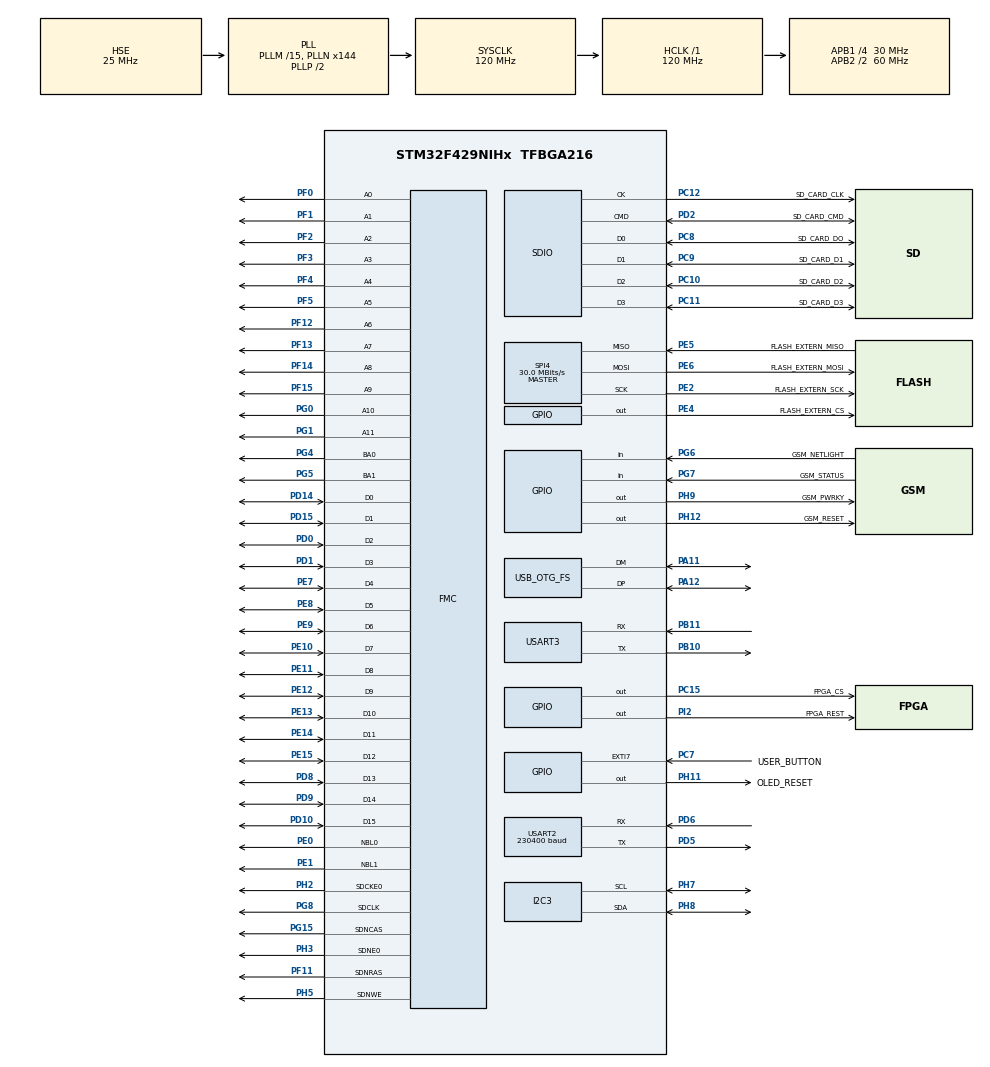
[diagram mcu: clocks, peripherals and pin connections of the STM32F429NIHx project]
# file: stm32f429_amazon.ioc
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FMC.CASLatency1=FMC_SDRAM_CAS_LATENCY_2
FMC.ReadBurst1=FMC_SDRAM_RBURST_ENABLE
FMC.ReadBurst2=FMC_SDRAM_RBURST_ENABLE
FMC.ReadPipeDelay1=FMC_SDRAM_RPIPE_DELAY_0
FMC.SDClockPeriod1=FMC_SDRAM_CLOCK_PERIOD_2
FMC.SDClockPeriod2=FMC_SDRAM_CLOCK_PERIOD_2
FREERTOS.Tasks01=defaultTask,24,128,StartDefaultTask,Default,NULL,Dynamic,NULL,NULL
Mcu.Family=STM32F4
Mcu.Name=STM32F429NIHx
Mcu.Package=TFBGA216
NVIC.OTG_FS_IRQn=true\:5\:0\:false\:false\:true\:true\:true\:true
NVIC.PriorityGroup=NVIC_PRIORITYGROUP_4
NVIC.TIM1_UP_TIM10_IRQn=true\:0\:0\:false\:false\:true\:false\:false\:true
NVIC.TimeBase=TIM1_UP_TIM10_IRQn
NVIC.TimeBaseIP=TIM1
NVIC.USART2_IRQn=true\:5\:0\:false\:false\:true\:true\:true\:true
NVIC.USART3_IRQn=true\:5\:0\:false\:false\:true\:true\:true\:true
PA11.Mode=Device_Only
PA11.Signal=USB_OTG_FS_DM
PA12.Mode=Device_Only
PA12.Signal=USB_OTG_FS_DP
PB10.GPIO_Mode=GPIO_MODE_AF_PP
PB10.GPIO_PuPd=GPIO_PULLUP
PB10.GPIO_Speed=GPIO_SPEED_FREQ_VERY_HIGH
PB10.Mode=Asynchronous
PB10.Signal=USART3_TX
PB11.GPIO_Mode=GPIO_MODE_AF_PP
PB11.GPIO_PuPd=GPIO_PULLUP
PB11.GPIO_Speed=GPIO_SPEED_FREQ_VERY_HIGH
PB11.Mode=Asynchronous
PB11.Signal=USART3_RX
PC10.GPIO_Label=SD_CARD_D2
PC10.Mode=SD_4_bits_Wide_bus
PC10.Signal=SDIO_D2
PC11.GPIO_Label=SD_CARD_D3
PC11.Mode=SD_4_bits_Wide_bus
PC11.Signal=SDIO_D3
PC12.GPIO_Label=SD_CARD_CLK
PC12.Mode=SD_4_bits_Wide_bus
PC12.Signal=SDIO_CK
PC15/OSC32_OUT.GPIO_Label=FPGA_CS
PC15/OSC32_OUT.Signal=GPIO_Output
PC7.GPIO_Label=USER_BUTTON
PC7.GPIO_ModeDefaultEXTI=GPIO_MODE_IT_RISING_FALLING
PC7.Signal=GPXTI7
PC8.GPIO_Label=SD_CARD_DO
PC8.Mode=SD_4_bits_Wide_bus
PC8.Signal=SDIO_D0
PC9.GPIO_Label=SD_CARD_D1
PC9.Mode=SD_4_bits_Wide_bus
PC9.Signal=SDIO_D1
PD0.Signal=FMC_D2_DA2
PD1.Signal=FMC_D3_DA3
PD10.Signal=FMC_D15_DA15
PD14.Signal=FMC_D0_DA0
PD15.Signal=FMC_D1_DA1
PD2.GPIO_Label=SD_CARD_CMD
PD2.Mode=SD_4_bits_Wide_bus
PD2.Signal=SDIO_CMD
PD5.GPIO_Mode=GPIO_MODE_AF_PP
PD5.GPIO_PuPd=GPIO_PULLUP
PD5.GPIO_Speed=GPIO_SPEED_FREQ_VERY_HIGH
PD5.Mode=Asynchronous
PD5.Signal=USART2_TX
PD6.GPIO_Mode=GPIO_MODE_AF_PP
PD6.GPIO_PuPd=GPIO_PULLUP
PD6.GPIO_Speed=GPIO_SPEED_FREQ_VERY_HIGH
PD6.Mode=Asynchronous
PD6.Signal=USART2_RX
PD8.Signal=FMC_D13_DA13
PD9.Signal=FMC_D14_DA14
PE0.Signal=FMC_NBL0
PE1.Signal=FMC_NBL1
PE10.Signal=FMC_D7_DA7
PE11.Signal=FMC_D8_DA8
PE12.Signal=FMC_D9_DA9
PE13.Signal=FMC_D10_DA10
PE14.Signal=FMC_D11_DA11
PE15.Signal=FMC_D12_DA12
PE2.GPIO_Label=FLASH_EXTERN_SCK
PE2.Mode=Full_Duplex_Master
PE2.Signal=SPI4_SCK
PE4.GPIO_Label=FLASH_EXTERN_CS
PE4.GPIO_PuPd=GPIO_PULLDOWN
PE4.Signal=GPIO_Output
PE5.GPIO_Label=FLASH_EXTERN_MISO
PE5.Mode=Full_Duplex_Master
PE5.Signal=SPI4_MISO
PE6.GPIO_Label=FLASH_EXTERN_MOSI
PE6.Mode=Full_Duplex_Master
PE6.Signal=SPI4_MOSI
PE7.Signal=FMC_D4_DA4
PE8.Signal=FMC_D5_DA5
PE9.Signal=FMC_D6_DA6
PF0.Signal=FMC_A0
PF1.Signal=FMC_A1
PF11.Signal=FMC_SDNRAS
PF12.Signal=FMC_A6
PF13.Signal=FMC_A7
PF14.Signal=FMC_A8
PF15.Signal=FMC_A9
PF2.Signal=FMC_A2
PF3.Signal=FMC_A3
PF4.Signal=FMC_A4
PF5.Signal=FMC_A5
PG0.Signal=FMC_A10
PG1.Signal=FMC_A11
PG15.Signal=FMC_SDNCAS
PG4.Signal=FMC_A14_BA0
PG5.Signal=FMC_A15_BA1
PG6.GPIO_Label=GSM_NETLIGHT
PG6.GPIO_Mode=GPIO_MODE_INPUT
PG6.GPIO_PuPd=GPIO_NOPULL
PG6.Signal=GPIO_Input
PG7.GPIO_Label=GSM_STATUS
PG7.GPIO_Mode=GPIO_MODE_INPUT
PG7.GPIO_PuPd=GPIO_NOPULL
PG7.Signal=GPIO_Input
PG8.Signal=FMC_SDCLK
PH0/OSC_IN.Mode=HSE-External-Oscillator
PH0/OSC_IN.Signal=RCC_OSC_IN
PH1/OSC_OUT.Mode=HSE-External-Oscillator
PH1/OSC_OUT.Signal=RCC_OSC_OUT
PH11.GPIO_Label=OLED_RESET
PH11.GPIO_PuPd=GPIO_PULLDOWN
PH11.Signal=GPIO_Output
PH12.GPIO_Label=GSM_RESET
PH12.GPIO_ModeDefaultOutputPP=GPIO_MODE_OUTPUT_PP
PH12.GPIO_PuPd=GPIO_NOPULL
PH12.GPIO_Speed=GPIO_SPEED_FREQ_LOW
PH12.PinState=GPIO_PIN_RESET
PH12.Signal=GPIO_Output
PH2.Mode=SdramChipSelect1_1
PH2.Signal=FMC_SDCKE0
PH3.Mode=SdramChipSelect1_1
PH3.Signal=FMC_SDNE0
PH5.Signal=FMC_SDNWE
PH7.Mode=I2C
PH7.Signal=I2C3_SCL
PH8.Mode=I2C
PH8.Signal=I2C3_SDA
PH9.GPIO_Label=GSM_PWRKY
PH9.GPIO_ModeDefaultOutputPP=GPIO_MODE_OUTPUT_PP
PH9.GPIO_PuPd=GPIO_NOPULL
PH9.GPIO_Speed=GPIO_SPEED_FREQ_LOW
PH9.PinState=GPIO_PIN_RESET
PH9.Signal=GPIO_Output
PI2.GPIO_Label=FPGA_REST
PI2.GPIO_PuPd=GPIO_PULLDOWN
PI2.GPIO_Speed=GPIO_SPEED_FREQ_LOW
PI2.Signal=GPIO_Output
ProjectManager.HeapSize=0x200
ProjectManager.StackSize=0x400
ProjectManager.TargetToolchain=STM32CubeIDE
RCC.48MHZClocksFreq_Value=48000000
RCC.AHBFreq_Value=120000000
RCC.APB1CLKDivider=RCC_HCLK_DIV4
RCC.APB1Freq_Value=30000000
RCC.APB1TimFreq_Value=60000000
RCC.APB2CLKDivider=RCC_HCLK_DIV2
RCC.APB2Freq_Value=60000000
RCC.APB2TimFreq_Value=120000000
RCC.CortexFreq_Value=120000000
RCC.EnbaleCSS=true
RCC.HCLKFreq_Value=120000000
RCC.HSE_VALUE=25000000
RCC.HSI_VALUE=16000000
RCC.LSE_VALUE=32768
RCC.PLLM=15
RCC.PLLN=144
RCC.PLLQ=5
RCC.SYSCLKFreq_VALUE=120000000
RCC.SYSCLKSource=RCC_SYSCLKSOURCE_PLLCLK
RCC.VCOOutputFreq_Value=240000000
SH.FMC_A0.0=FMC_A0,12b-sda1
SH.FMC_A1.0=FMC_A1,12b-sda1
SH.FMC_A10.0=FMC_A10,12b-sda1
SH.FMC_A11.0=FMC_A11,12b-sda1
SH.FMC_A14_BA0.0=FMC_BA0,FourSdramBanks1
SH.FMC_A15_BA1.0=FMC_BA1,FourSdramBanks1
SH.FMC_A2.0=FMC_A2,12b-sda1
SH.FMC_A3.0=FMC_A3,12b-sda1
SH.FMC_A4.0=FMC_A4,12b-sda1
SH.FMC_A5.0=FMC_A5,12b-sda1
SH.FMC_A6.0=FMC_A6,12b-sda1
SH.FMC_A7.0=FMC_A7,12b-sda1
SH.FMC_A8.0=FMC_A8,12b-sda1
SH.FMC_A9.0=FMC_A9,12b-sda1
SH.FMC_D0_DA0.0=FMC_D0,sd-16b-d1
SH.FMC_D10_DA10.0=FMC_D10,sd-16b-d1
SH.FMC_D11_DA11.0=FMC_D11,sd-16b-d1
SH.FMC_D12_DA12.0=FMC_D12,sd-16b-d1
SH.FMC_D13_DA13.0=FMC_D13,sd-16b-d1
SH.FMC_D14_DA14.0=FMC_D14,sd-16b-d1
SH.FMC_D15_DA15.0=FMC_D15,sd-16b-d1
SH.FMC_D1_DA1.0=FMC_D1,sd-16b-d1
SH.FMC_D2_DA2.0=FMC_D2,sd-16b-d1
SH.FMC_D3_DA3.0=FMC_D3,sd-16b-d1
SH.FMC_D4_DA4.0=FMC_D4,sd-16b-d1
SH.FMC_D5_DA5.0=FMC_D5,sd-16b-d1
SH.FMC_D6_DA6.0=FMC_D6,sd-16b-d1
SH.FMC_D7_DA7.0=FMC_D7,sd-16b-d1
SH.FMC_D8_DA8.0=FMC_D8,sd-16b-d1
SH.FMC_D9_DA9.0=FMC_D9,sd-16b-d1
SH.FMC_NBL0.0=FMC_NBL0,Sd2ByteEnable1
SH.FMC_NBL1.0=FMC_NBL1,Sd2ByteEnable1
SH.FMC_SDCLK.0=FMC_SDCLK,12b-sda1
SH.FMC_SDNCAS.0=FMC_SDNCAS,12b-sda1
SH.FMC_SDNRAS.0=FMC_SDNRAS,12b-sda1
SH.FMC_SDNWE.0=FMC_SDNWE,12b-sda1
SPI4.CalculateBaudRate=30.0 MBits/s
SPI4.Direction=SPI_DIRECTION_2LINES
SPI4.Mode=SPI_MODE_MASTER
SPI4.VirtualType=VM_MASTER
USART2.BaudRate=230400
USART2.Mode=MODE_TX_RX
USART2.VirtualMode=VM_ASYNC
USART3.VirtualMode=VM_ASYNC
USB_DEVICE.CLASS_NAME_FS=CDC
USB_DEVICE.VirtualMode-CDC_FS=Cdc
USB_DEVICE.VirtualModeFS=Cdc_FS
USB_OTG_FS.VirtualMode=Device_Only
VP_CRC_VS_CRC.Mode=CRC_Activate
VP_FATFS_VS_SDIO.Mode=SDIO
VP_FREERTOS_VS_CMSIS_V1.Mode=CMSIS_V1
VP_RNG_VS_RNG.Mode=RNG_Activate
VP_RTC_VS_RTC_Activate.Mode=RTC_Enabled
VP_SYS_VS_tim1.Mode=TIM1
VP_USB_DEVICE_VS_USB_DEVICE_CDC_FS.Mode=CDC_FS
board=custom

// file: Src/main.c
/* USER CODE BEGIN Header */
/**
 ******************************************************************************
 * @file           : main.c
 * @brief          : Main program body
 ******************************************************************************
 * @attention
 *
 * <h2><center>&copy; Copyright (c) 2019 STMicroelectronics.
 * All rights reserved.</center></h2>
 *
 * This software component is licensed by ST under BSD 3-Clause license,
 * the "License"; You may not use this file except in compliance with the
 * License. You may obtain a copy of the License at:
 *                        opensource.org/licenses/BSD-3-Clause
 *
 ******************************************************************************
 */
/* USER CODE END Header */

#include "main.h"
#include "cmsis_os.h"
#include "fatfs.h"
#include "usb_device.h"

/* USER CODE BEGIN Includes */
#include <stdio.h>
#include "fpga_commander.h"
#include "debug_print.h"
#include "gsm.h"
#include "FreeRTOS.h"
#include "task.h"
#include "stats.h"
#include "gsmPPP.h"
#include "../Common/AWS/Inc/net.h"
#include "cloud.h"
#include "commander/commander.h"
#include "settings/settings.h"
#include "ssd1306_oled/ssd1306.h"
#include "status/display_status.h"
#include "sdram/sdram.h"

/* USER CODE END Includes */

CRC_HandleTypeDef hcrc;

I2C_HandleTypeDef hi2c3;

RNG_HandleTypeDef hrng;

RTC_HandleTypeDef hrtc;

SD_HandleTypeDef hsd;

SPI_HandleTypeDef hspi4;

UART_HandleTypeDef huart2;
UART_HandleTypeDef huart3;

SDRAM_HandleTypeDef hsdram1;

osThreadId defaultTaskHandle;
/* USER CODE BEGIN PV */
extern ePppState pppState;
net_hnd_t hnet;
static volatile uint8_t button_flags = 0;
/* USER CODE END PV */

void SystemClock_Config(void);
static void MX_GPIO_Init(void);
static void MX_USART2_UART_Init(void);
static void MX_CRC_Init(void);
static void MX_USART3_UART_Init(void);
static void MX_RTC_Init(void);
static void MX_RNG_Init(void);
static void MX_FMC_Init(void);
static void MX_I2C3_Init(void);
static void MX_SPI4_Init(void);
static void MX_SDIO_SD_Init(void);
void StartDefaultTask(void const * argument);

/* USER CODE BEGIN PFP */
void vApplicationStackOverflowHook( TaskHandle_t xTask,
		signed char *pcTaskName ) {
	DBGInfo("STACK OVERFLOW in task %s!!!!!!", pcTaskName);
}

void vApplicationMallocFailedHook(void) {
	DBGInfo("STACK vApplicationMallocFailedHook !!!!!!");
}

void vApplicationDaemonTaskStartupHook( void ) {
	DBGInfo("ApplicationDaemonTaskStartUpHook")
}

/* configUSE_STATIC_ALLOCATION is set to 1, so the application must provide an
 * implementation of vApplicationGetTimerTaskMemory() to provide the memory that is
 * used by the RTOS daemon/time task. */
void vApplicationGetTimerTaskMemory( StaticTask_t ** ppxTimerTaskTCBBuffer,
		StackType_t ** ppxTimerTaskStackBuffer,
		uint32_t * pulTimerTaskStackSize ) {
	/* If the buffers to be provided to the Timer task are declared inside this
	 * function then they must be declared static - otherwise they will be allocated on
	 * the stack and so not exists after this function exits. */
	static StaticTask_t xTimerTaskTCB;
	static StackType_t uxTimerTaskStack[ configTIMER_TASK_STACK_DEPTH ];

	/* Pass out a pointer to the StaticTask_t structure in which the Idle
	 * task's state will be stored. */
	*ppxTimerTaskTCBBuffer = &xTimerTaskTCB;

	/* Pass out the array that will be used as the Timer task's stack. */
	*ppxTimerTaskStackBuffer = uxTimerTaskStack;

	/* Pass out the size of the array pointed to by *ppxTimerTaskStackBuffer.
	 * Note that, as the array is necessarily of type StackType_t,
	 * configMINIMAL_STACK_SIZE is specified in words, not bytes. */
	*pulTimerTaskStackSize = configTIMER_TASK_STACK_DEPTH;
}

/* USER CODE END PFP */

int main(void)
{

  /* MCU Configuration--------------------------------------------------------*/

  /* Reset of all peripherals, Initializes the Flash interface and the Systick. */
  HAL_Init();

  /* Configure the system clock */
  SystemClock_Config();

  /* Initialize all configured peripherals */
  MX_GPIO_Init();
  MX_USART2_UART_Init();
  MX_CRC_Init();
  MX_USART3_UART_Init();
  MX_RTC_Init();
  MX_RNG_Init();
  MX_FMC_Init();
  MX_I2C3_Init();
  MX_SPI4_Init();
  MX_SDIO_SD_Init();
  /* USER CODE BEGIN 2 */

	ITM_Init(1000);
	DBGLog("Started");

	settingsInit();
	ssd1306_Init();
	setDisplayStatus((char*)caption_display_init_system);

	sdramInit();

	/* Create the thread(s) */
	/* definition and creation of defaultTask */
	xTaskCreate(StartDefaultTask, "defaultTask", 128, 0, tskIDLE_PRIORITY, NULL);

	gsmTaskInit();

	commanderInit();

	/* USER CODE END RTOS_THREADS */

	/* Start scheduler */
	vTaskStartScheduler();

	/* We should never get here as control is now taken by the scheduler */

  /* USER CODE END 2 */

	/* We should never get here as control is now taken by the scheduler */

	/* Infinite loop */
	while (1)
	{

	}
}

void SystemClock_Config(void)
{
  RCC_OscInitTypeDef RCC_OscInitStruct = {0};
  RCC_ClkInitTypeDef RCC_ClkInitStruct = {0};
  RCC_PeriphCLKInitTypeDef PeriphClkInitStruct = {0};

  /** Configure the main internal regulator output voltage
  */
  __HAL_RCC_PWR_CLK_ENABLE();
  __HAL_PWR_VOLTAGESCALING_CONFIG(PWR_REGULATOR_VOLTAGE_SCALE3);
  /** Initializes the CPU, AHB and APB busses clocks
  */
  RCC_OscInitStruct.OscillatorType = RCC_OSCILLATORTYPE_LSI|RCC_OSCILLATORTYPE_HSE;
  RCC_OscInitStruct.HSEState = RCC_HSE_ON;
  RCC_OscInitStruct.LSIState = RCC_LSI_ON;
  RCC_OscInitStruct.PLL.PLLState = RCC_PLL_ON;
  RCC_OscInitStruct.PLL.PLLSource = RCC_PLLSOURCE_HSE;
  RCC_OscInitStruct.PLL.PLLM = 15;
  RCC_OscInitStruct.PLL.PLLN = 144;
  RCC_OscInitStruct.PLL.PLLP = RCC_PLLP_DIV2;
  RCC_OscInitStruct.PLL.PLLQ = 5;
  if (HAL_RCC_OscConfig(&RCC_OscInitStruct) != HAL_OK)
  {
    Error_Handler();
  }
  /** Initializes the CPU, AHB and APB busses clocks
  */
  RCC_ClkInitStruct.ClockType = RCC_CLOCKTYPE_HCLK|RCC_CLOCKTYPE_SYSCLK
                              |RCC_CLOCKTYPE_PCLK1|RCC_CLOCKTYPE_PCLK2;
  RCC_ClkInitStruct.SYSCLKSource = RCC_SYSCLKSOURCE_PLLCLK;
  RCC_ClkInitStruct.AHBCLKDivider = RCC_SYSCLK_DIV1;
  RCC_ClkInitStruct.APB1CLKDivider = RCC_HCLK_DIV4;
  RCC_ClkInitStruct.APB2CLKDivider = RCC_HCLK_DIV2;

  if (HAL_RCC_ClockConfig(&RCC_ClkInitStruct, FLASH_LATENCY_3) != HAL_OK)
  {
    Error_Handler();
  }
  PeriphClkInitStruct.PeriphClockSelection = RCC_PERIPHCLK_RTC;
  PeriphClkInitStruct.RTCClockSelection = RCC_RTCCLKSOURCE_LSI;
  if (HAL_RCCEx_PeriphCLKConfig(&PeriphClkInitStruct) != HAL_OK)
  {
    Error_Handler();
  }
  /** Enables the Clock Security System
  */
  HAL_RCC_EnableCSS();
}

static void MX_CRC_Init(void)
{

  hcrc.Instance = CRC;
  if (HAL_CRC_Init(&hcrc) != HAL_OK)
  {
    Error_Handler();
  }

}

static void MX_I2C3_Init(void)
{

  hi2c3.Instance = I2C3;
  hi2c3.Init.ClockSpeed = 100000;
  hi2c3.Init.DutyCycle = I2C_DUTYCYCLE_2;
  hi2c3.Init.OwnAddress1 = 0;
  hi2c3.Init.AddressingMode = I2C_ADDRESSINGMODE_7BIT;
  hi2c3.Init.DualAddressMode = I2C_DUALADDRESS_DISABLE;
  hi2c3.Init.OwnAddress2 = 0;
  hi2c3.Init.GeneralCallMode = I2C_GENERALCALL_DISABLE;
  hi2c3.Init.NoStretchMode = I2C_NOSTRETCH_DISABLE;
  if (HAL_I2C_Init(&hi2c3) != HAL_OK)
  {
    Error_Handler();
  }
  /** Configure Analogue filter
  */
  if (HAL_I2CEx_ConfigAnalogFilter(&hi2c3, I2C_ANALOGFILTER_ENABLE) != HAL_OK)
  {
    Error_Handler();
  }
  /** Configure Digital filter
  */
  if (HAL_I2CEx_ConfigDigitalFilter(&hi2c3, 0) != HAL_OK)
  {
    Error_Handler();
  }

}

static void MX_RNG_Init(void)
{

  hrng.Instance = RNG;
  if (HAL_RNG_Init(&hrng) != HAL_OK)
  {
    Error_Handler();
  }

}

static void MX_RTC_Init(void)
{

  /** Initialize RTC Only
  */
  hrtc.Instance = RTC;
  hrtc.Init.HourFormat = RTC_HOURFORMAT_24;
  hrtc.Init.AsynchPrediv = 127;
  hrtc.Init.SynchPrediv = 255;
  hrtc.Init.OutPut = RTC_OUTPUT_DISABLE;
  hrtc.Init.OutPutPolarity = RTC_OUTPUT_POLARITY_HIGH;
  hrtc.Init.OutPutType = RTC_OUTPUT_TYPE_OPENDRAIN;
  if (HAL_RTC_Init(&hrtc) != HAL_OK)
  {
    Error_Handler();
  }

}

static void MX_SDIO_SD_Init(void)
{

  hsd.Instance = SDIO;
  hsd.Init.ClockEdge = SDIO_CLOCK_EDGE_RISING;
  hsd.Init.ClockBypass = SDIO_CLOCK_BYPASS_DISABLE;
  hsd.Init.ClockPowerSave = SDIO_CLOCK_POWER_SAVE_DISABLE;
  hsd.Init.BusWide = SDIO_BUS_WIDE_1B;
  hsd.Init.HardwareFlowControl = SDIO_HARDWARE_FLOW_CONTROL_DISABLE;
  hsd.Init.ClockDiv = 0;

}

static void MX_SPI4_Init(void)
{

  /* SPI4 parameter configuration*/
  hspi4.Instance = SPI4;
  hspi4.Init.Mode = SPI_MODE_MASTER;
  hspi4.Init.Direction = SPI_DIRECTION_2LINES;
  hspi4.Init.DataSize = SPI_DATASIZE_8BIT;
  hspi4.Init.CLKPolarity = SPI_POLARITY_LOW;
  hspi4.Init.CLKPhase = SPI_PHASE_1EDGE;
  hspi4.Init.NSS = SPI_NSS_SOFT;
  hspi4.Init.BaudRatePrescaler = SPI_BAUDRATEPRESCALER_2;
  hspi4.Init.FirstBit = SPI_FIRSTBIT_MSB;
  hspi4.Init.TIMode = SPI_TIMODE_DISABLE;
  hspi4.Init.CRCCalculation = SPI_CRCCALCULATION_DISABLE;
  hspi4.Init.CRCPolynomial = 10;
  if (HAL_SPI_Init(&hspi4) != HAL_OK)
  {
    Error_Handler();
  }

}

static void MX_USART2_UART_Init(void)
{

  /* USER CODE BEGIN USART2_Init 0 */
	//
  /* USER CODE END USART2_Init 0 */

  /* USER CODE BEGIN USART2_Init 1 */
	//
  /* USER CODE END USART2_Init 1 */
  huart2.Instance = USART2;
  huart2.Init.BaudRate = 230400;
  huart2.Init.WordLength = UART_WORDLENGTH_8B;
  huart2.Init.StopBits = UART_STOPBITS_1;
  huart2.Init.Parity = UART_PARITY_NONE;
  huart2.Init.Mode = UART_MODE_TX_RX;
  huart2.Init.HwFlowCtl = UART_HWCONTROL_NONE;
  huart2.Init.OverSampling = UART_OVERSAMPLING_16;
  if (HAL_UART_Init(&huart2) != HAL_OK)
  {
    Error_Handler();
  }

}

static void MX_USART3_UART_Init(void)
{

  huart3.Instance = USART3;
  huart3.Init.BaudRate = 115200;
  huart3.Init.WordLength = UART_WORDLENGTH_8B;
  huart3.Init.StopBits = UART_STOPBITS_1;
  huart3.Init.Parity = UART_PARITY_NONE;
  huart3.Init.Mode = UART_MODE_TX_RX;
  huart3.Init.HwFlowCtl = UART_HWCONTROL_NONE;
  huart3.Init.OverSampling = UART_OVERSAMPLING_16;
  if (HAL_UART_Init(&huart3) != HAL_OK)
  {
    Error_Handler();
  }

}

/* FMC initialization function */
static void MX_FMC_Init(void)
{

  FMC_SDRAM_TimingTypeDef SdramTiming = {0};

  /** Perform the SDRAM1 memory initialization sequence
  */
  hsdram1.Instance = FMC_SDRAM_DEVICE;
  /* hsdram1.Init */
  hsdram1.Init.SDBank = FMC_SDRAM_BANK1;
  hsdram1.Init.ColumnBitsNumber = FMC_SDRAM_COLUMN_BITS_NUM_8;
  hsdram1.Init.RowBitsNumber = FMC_SDRAM_ROW_BITS_NUM_12;
  hsdram1.Init.MemoryDataWidth = FMC_SDRAM_MEM_BUS_WIDTH_16;
  hsdram1.Init.InternalBankNumber = FMC_SDRAM_INTERN_BANKS_NUM_4;
  hsdram1.Init.CASLatency = FMC_SDRAM_CAS_LATENCY_2;
  hsdram1.Init.WriteProtection = FMC_SDRAM_WRITE_PROTECTION_DISABLE;
  hsdram1.Init.SDClockPeriod = FMC_SDRAM_CLOCK_PERIOD_2;
  hsdram1.Init.ReadBurst = FMC_SDRAM_RBURST_ENABLE;
  hsdram1.Init.ReadPipeDelay = FMC_SDRAM_RPIPE_DELAY_0;
  /* SdramTiming */
  SdramTiming.LoadToActiveDelay = 16;
  SdramTiming.ExitSelfRefreshDelay = 16;
  SdramTiming.SelfRefreshTime = 16;
  SdramTiming.RowCycleDelay = 16;
  SdramTiming.WriteRecoveryTime = 16;
  SdramTiming.RPDelay = 16;
  SdramTiming.RCDDelay = 16;

  if (HAL_SDRAM_Init(&hsdram1, &SdramTiming) != HAL_OK)
  {
    Error_Handler( );
  }

}

static void MX_GPIO_Init(void)
{
  GPIO_InitTypeDef GPIO_InitStruct = {0};

  /* GPIO Ports Clock Enable */
  __HAL_RCC_GPIOE_CLK_ENABLE();
  __HAL_RCC_GPIOC_CLK_ENABLE();
  __HAL_RCC_GPIOG_CLK_ENABLE();
  __HAL_RCC_GPIOD_CLK_ENABLE();
  __HAL_RCC_GPIOA_CLK_ENABLE();
  __HAL_RCC_GPIOI_CLK_ENABLE();
  __HAL_RCC_GPIOF_CLK_ENABLE();
  __HAL_RCC_GPIOH_CLK_ENABLE();
  __HAL_RCC_GPIOB_CLK_ENABLE();

  /*Configure GPIO pin Output Level */
  HAL_GPIO_WritePin(FLASH_EXTERN_CS_GPIO_Port, FLASH_EXTERN_CS_Pin, GPIO_PIN_RESET);

  /*Configure GPIO pin Output Level */
  HAL_GPIO_WritePin(FPGA_REST_GPIO_Port, FPGA_REST_Pin, GPIO_PIN_RESET);

  /*Configure GPIO pin Output Level */
  HAL_GPIO_WritePin(FPGA_CS_GPIO_Port, FPGA_CS_Pin, GPIO_PIN_RESET);

  /*Configure GPIO pin Output Level */
  HAL_GPIO_WritePin(GPIOH, GSM_RESET_Pin|GSM_PWRKY_Pin|OLED_RESET_Pin, GPIO_PIN_RESET);

  /*Configure GPIO pin : FLASH_EXTERN_CS_Pin */
  GPIO_InitStruct.Pin = FLASH_EXTERN_CS_Pin;
  GPIO_InitStruct.Mode = GPIO_MODE_OUTPUT_PP;
  GPIO_InitStruct.Pull = GPIO_PULLDOWN;
  GPIO_InitStruct.Speed = GPIO_SPEED_FREQ_LOW;
  HAL_GPIO_Init(FLASH_EXTERN_CS_GPIO_Port, &GPIO_InitStruct);

  /*Configure GPIO pin : FPGA_REST_Pin */
  GPIO_InitStruct.Pin = FPGA_REST_Pin;
  GPIO_InitStruct.Mode = GPIO_MODE_OUTPUT_PP;
  GPIO_InitStruct.Pull = GPIO_PULLDOWN;
  GPIO_InitStruct.Speed = GPIO_SPEED_FREQ_LOW;
  HAL_GPIO_Init(FPGA_REST_GPIO_Port, &GPIO_InitStruct);

  /*Configure GPIO pin : FPGA_CS_Pin */
  GPIO_InitStruct.Pin = FPGA_CS_Pin;
  GPIO_InitStruct.Mode = GPIO_MODE_OUTPUT_PP;
  GPIO_InitStruct.Pull = GPIO_NOPULL;
  GPIO_InitStruct.Speed = GPIO_SPEED_FREQ_LOW;
  HAL_GPIO_Init(FPGA_CS_GPIO_Port, &GPIO_InitStruct);

  /*Configure GPIO pin : USER_BUTTON_Pin */
  GPIO_InitStruct.Pin = USER_BUTTON_Pin;
  GPIO_InitStruct.Mode = GPIO_MODE_IT_RISING_FALLING;
  GPIO_InitStruct.Pull = GPIO_NOPULL;
  HAL_GPIO_Init(USER_BUTTON_GPIO_Port, &GPIO_InitStruct);

  /*Configure GPIO pins : GSM_STATUS_Pin GSM_NETLIGHT_Pin */
  GPIO_InitStruct.Pin = GSM_STATUS_Pin|GSM_NETLIGHT_Pin;
  GPIO_InitStruct.Mode = GPIO_MODE_INPUT;
  GPIO_InitStruct.Pull = GPIO_NOPULL;
  HAL_GPIO_Init(GPIOG, &GPIO_InitStruct);

  /*Configure GPIO pins : GSM_RESET_Pin GSM_PWRKY_Pin */
  GPIO_InitStruct.Pin = GSM_RESET_Pin|GSM_PWRKY_Pin;
  GPIO_InitStruct.Mode = GPIO_MODE_OUTPUT_PP;
  GPIO_InitStruct.Pull = GPIO_NOPULL;
  GPIO_InitStruct.Speed = GPIO_SPEED_FREQ_LOW;
  HAL_GPIO_Init(GPIOH, &GPIO_InitStruct);

  /*Configure GPIO pin : OLED_RESET_Pin */
  GPIO_InitStruct.Pin = OLED_RESET_Pin;
  GPIO_InitStruct.Mode = GPIO_MODE_OUTPUT_PP;
  GPIO_InitStruct.Pull = GPIO_PULLDOWN;
  GPIO_InitStruct.Speed = GPIO_SPEED_FREQ_LOW;
  HAL_GPIO_Init(OLED_RESET_GPIO_Port, &GPIO_InitStruct);

}

void StartDefaultTask(void const * argument)
{
  /* init code for USB_DEVICE */
  MX_USB_DEVICE_Init();

  /* init code for FATFS */
  MX_FATFS_Init();

  /* USER CODE BEGIN 5 */

	xTaskCreate(fpgaTask, "fpgaTask", 512, 0, tskIDLE_PRIORITY+2, NULL);

	/* Infinite loop */
	for(;;)
	{
		vTaskDelay(5000/portTICK_PERIOD_MS);
	}
  /* USER CODE END 5 */
}

void HAL_TIM_PeriodElapsedCallback(TIM_HandleTypeDef *htim)
{
  if (htim->Instance == TIM1) {
    HAL_IncTick();
  }
}

void Error_Handler(void)
{
}

/************************ (C) COPYRIGHT STMicroelectronics *****END OF FILE****/
